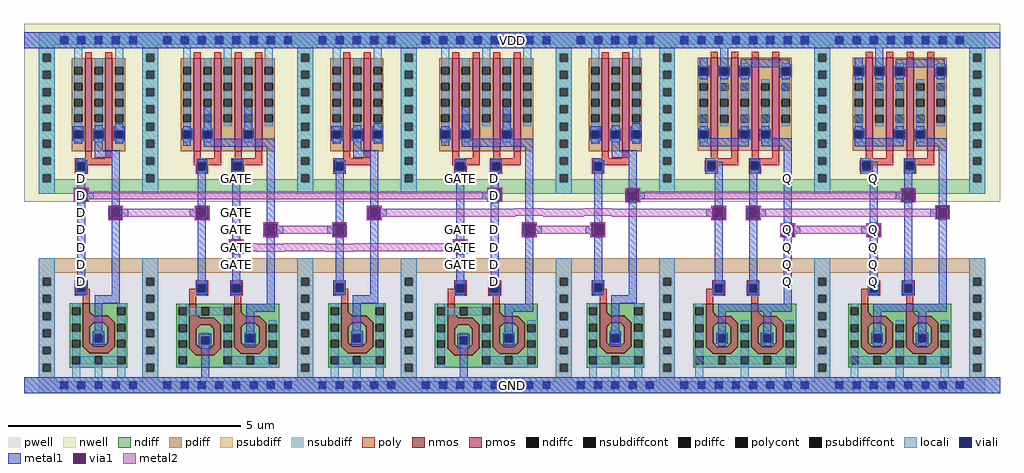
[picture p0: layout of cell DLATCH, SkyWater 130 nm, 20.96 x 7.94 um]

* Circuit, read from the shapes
.subckt DLATCH Q D GATE VDD GND
XM1 GND D n1 GND sky130_fd_pr__nfet_01v8 w=2.56 l=0.1478
XM2 n2 n1 GND GND sky130_fd_pr__nfet_01v8 w=2.6 l=0.1479
XM3 n2 GATE n3 GND sky130_fd_pr__nfet_01v8 w=2.56 l=0.1463
XM4 GND n3 n4 GND sky130_fd_pr__nfet_01v8 w=2.56 l=0.1471
XM5 n5 GATE GND GND sky130_fd_pr__nfet_01v8 w=2.6 l=0.1479
XM6 n5 D n6 GND sky130_fd_pr__nfet_01v8 w=2.56 l=0.1464
XM7 GND n6 n7 GND sky130_fd_pr__nfet_01v8 w=2.56 l=0.1471
XM8 GND n4 Q GND sky130_fd_pr__nfet_01v8 w=2.56 l=0.1463
XM9 GND n8 Q GND sky130_fd_pr__nfet_01v8 w=2.56 l=0.1466
XM10 GND Q n8 GND sky130_fd_pr__nfet_01v8 w=2.56 l=0.1463
XM11 GND n7 n8 GND sky130_fd_pr__nfet_01v8 w=2.56 l=0.1462
XM12 n1 D VDD VDD sky130_fd_pr__pfet_01v8 w=2 l=0.15 m=2
XM13 n3 n1 VDD VDD sky130_fd_pr__pfet_01v8 w=2 l=0.15 m=2
XM14 n3 GATE VDD VDD sky130_fd_pr__pfet_01v8 w=2 l=0.15 m=2
XM15 n4 n3 VDD VDD sky130_fd_pr__pfet_01v8 w=2 l=0.15 m=2
XM16 n6 GATE VDD VDD sky130_fd_pr__pfet_01v8 w=2 l=0.15 m=2
XM17 n6 D VDD VDD sky130_fd_pr__pfet_01v8 w=2 l=0.15 m=2
XM18 n7 n6 VDD VDD sky130_fd_pr__pfet_01v8 w=2 l=0.15 m=2
XM19 VDD n4 n9 VDD sky130_fd_pr__pfet_01v8 w=2 l=0.15 m=2
XM20 Q n8 n9 VDD sky130_fd_pr__pfet_01v8 w=2 l=0.15 m=2
XM21 VDD Q n10 VDD sky130_fd_pr__pfet_01v8 w=2 l=0.15 m=2
XM22 n8 n7 n10 VDD sky130_fd_pr__pfet_01v8 w=2 l=0.15 m=2
.ends

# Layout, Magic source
magic
tech sky130A
magscale 1 2
<< nwell >>
rect 0 822 4192 1588
<< pwell >>
rect 155 19 189 53
rect 64 0 4128 10
<< psubdiff >>
rect 64 0 4128 10
<< nsubdiff >>
rect 64 1550 4128 1552
<< locali >>
rect 0 1482 4192 1552
rect 0 0 4192 70
<< metal1 >>
rect 0 1482 4192 1552
rect 229 907 263 941
rect 895 907 929 941
rect 1857 907 1891 941
rect 2005 907 2039 941
rect 3263 907 3297 941
rect 3633 907 3667 941
rect 214 877 278 883
rect 214 825 220 877
rect 272 825 278 877
rect 214 822 278 825
rect 1990 877 2054 883
rect 1990 825 1996 877
rect 2048 825 2054 877
rect 1990 822 2054 825
rect 2582 876 2646 882
rect 2582 824 2588 876
rect 2640 824 2646 876
rect 2582 821 2646 824
rect 3766 876 3830 882
rect 3766 824 3772 876
rect 3824 824 3830 876
rect 3766 821 3830 824
rect 361 799 425 805
rect 229 759 263 793
rect 361 747 367 799
rect 419 747 425 799
rect 361 744 425 747
rect 734 799 798 805
rect 734 747 740 799
rect 792 747 798 799
rect 1472 799 1536 805
rect 895 759 929 793
rect 734 744 798 747
rect 1472 747 1478 799
rect 1530 747 1536 799
rect 1472 744 1536 747
rect 2952 799 3016 805
rect 2952 747 2958 799
rect 3010 747 3016 799
rect 2952 744 3016 747
rect 3100 799 3164 805
rect 3100 747 3106 799
rect 3158 747 3164 799
rect 3913 803 3977 809
rect 3913 751 3919 803
rect 3971 751 3977 803
rect 3913 748 3977 751
rect 3100 744 3164 747
rect 3248 725 3312 731
rect 229 685 263 719
rect 895 685 929 719
rect 1857 685 1891 719
rect 2005 685 2039 719
rect 3248 673 3254 725
rect 3306 673 3312 725
rect 3248 670 3312 673
rect 3618 725 3682 731
rect 3618 673 3624 725
rect 3676 673 3682 725
rect 3618 670 3682 673
rect 879 655 943 661
rect 229 611 263 645
rect 879 603 885 655
rect 937 603 943 655
rect 879 600 943 603
rect 1842 655 1906 661
rect 1842 603 1848 655
rect 1900 603 1906 655
rect 2005 611 2039 645
rect 3263 611 3297 645
rect 3633 611 3667 645
rect 1842 600 1906 603
rect 229 537 263 571
rect 895 537 929 571
rect 1857 537 1891 571
rect 2005 537 2039 571
rect 3263 537 3297 571
rect 3633 537 3667 571
rect 229 463 263 497
rect 2005 463 2039 497
rect 3263 463 3297 497
rect 3633 463 3667 497
rect 0 0 4192 70
<< via1 >>
rect 220 825 272 877
rect 1996 825 2048 877
rect 2588 824 2640 876
rect 3772 824 3824 876
rect 367 747 419 799
rect 740 747 792 799
rect 1478 747 1530 799
rect 2958 747 3010 799
rect 3106 747 3158 799
rect 3919 751 3971 803
rect 3254 673 3306 725
rect 3624 673 3676 725
rect 885 603 937 655
rect 1848 603 1900 655
<< metal2 >>
rect 214 877 278 883
rect 214 825 220 877
rect 272 867 278 877
rect 1990 877 2054 883
rect 1990 867 1996 877
rect 272 833 1996 867
rect 272 825 278 833
rect 214 822 278 825
rect 1990 825 1996 833
rect 2048 825 2054 877
rect 1990 822 2054 825
rect 2582 876 2646 882
rect 2582 824 2588 876
rect 2640 867 2646 876
rect 3766 876 3830 882
rect 3766 867 3772 876
rect 2640 833 3772 867
rect 2640 824 2646 833
rect 2582 821 2646 824
rect 3766 824 3772 833
rect 3824 824 3830 876
rect 3766 821 3830 824
rect 361 799 425 805
rect 361 747 367 799
rect 419 793 425 799
rect 734 799 798 805
rect 734 793 740 799
rect 419 759 740 793
rect 419 747 425 759
rect 361 744 425 747
rect 734 747 740 759
rect 792 747 798 799
rect 734 744 798 747
rect 1472 799 1536 805
rect 1472 747 1478 799
rect 1530 793 1536 799
rect 2952 799 3016 805
rect 2110 793 2230 795
rect 2405 793 2525 796
rect 2952 793 2958 799
rect 1530 762 2958 793
rect 1530 759 2110 762
rect 2230 759 2405 762
rect 2525 759 2958 762
rect 1530 747 1536 759
rect 1472 744 1536 747
rect 2952 747 2958 759
rect 3010 747 3016 799
rect 2952 744 3016 747
rect 3100 799 3164 805
rect 3100 747 3106 799
rect 3158 793 3164 799
rect 3913 803 3977 809
rect 3913 793 3919 803
rect 3158 759 3919 793
rect 3158 747 3164 759
rect 3913 751 3919 759
rect 3971 751 3977 803
rect 3913 748 3977 751
rect 3100 744 3164 747
rect 3248 725 3312 731
rect 3248 673 3254 725
rect 3306 719 3312 725
rect 3618 725 3682 731
rect 3618 719 3624 725
rect 3306 685 3624 719
rect 3306 673 3312 685
rect 3248 670 3312 673
rect 3618 673 3624 685
rect 3676 673 3682 725
rect 3618 670 3682 673
rect 879 655 943 661
rect 879 603 885 655
rect 937 645 943 655
rect 1842 655 1906 661
rect 1842 645 1848 655
rect 937 642 1000 645
rect 1120 642 1295 645
rect 1415 642 1848 645
rect 937 611 1848 642
rect 937 603 943 611
rect 1000 608 1120 611
rect 1295 608 1415 611
rect 879 600 943 603
rect 1842 603 1848 611
rect 1900 603 1906 655
rect 1842 600 1906 603
use and2x1_pcell  and2x1_pcell_0
transform 1 0 542 0 1 36
box -87 -34 1197 1550
use and2x1_pcell  and2x1_pcell_1
transform 1 0 1652 0 1 36
box -87 -34 1197 1550
use invx1_pcell  invx1_pcell_0
transform 1 0 98 0 1 36
box -87 -34 531 1550
use li1_M1_contact  li1_M1_contact_0
transform -1 0 912 0 -1 628
box -53 -33 29 33
use li1_M1_contact  li1_M1_contact_1
transform 1 0 1874 0 1 628
box -53 -33 29 33
use li1_M1_contact  li1_M1_contact_2
transform -1 0 246 0 -1 850
box -53 -33 29 33
use li1_M1_contact  li1_M1_contact_3
transform -1 0 394 0 -1 776
box -53 -33 29 33
use li1_M1_contact  li1_M1_contact_4
transform 1 0 2022 0 1 850
box -53 -33 29 33
use li1_M1_contact  li1_M1_contact_5
transform 1 0 764 0 1 776
box -53 -33 29 33
use li1_M1_contact  li1_M1_contact_6
transform -1 0 1504 0 -1 776
box -53 -33 29 33
use li1_M1_contact  li1_M1_contact_7
transform 1 0 2984 0 1 776
box -53 -33 29 33
use li1_M1_contact  li1_M1_contact_8
transform 1 0 3798 0 1 850
box -53 -33 29 33
use li1_M1_contact  li1_M1_contact_9
transform -1 0 2614 0 -1 850
box -53 -33 29 33
use li1_M1_contact  li1_M1_contact_10
transform 1 0 3946 0 1 776
box -53 -33 29 33
use li1_M1_contact  li1_M1_contact_11
transform -1 0 3132 0 -1 776
box -53 -33 29 33
use li1_M1_contact  li1_M1_contact_12
transform 1 0 3650 0 1 702
box -53 -33 29 33
use li1_M1_contact  li1_M1_contact_13
transform -1 0 3280 0 -1 702
box -53 -33 29 33
use nor2x1_pcell  nor2x1_pcell_0
transform 1 0 2762 0 1 36
box -87 -34 753 1550
use nor2x1_pcell  nor2x1_pcell_1
transform 1 0 3428 0 1 36
box -87 -34 753 1550
<< labels >>
rlabel metal1 3263 685 3297 719 1 Q
port 1 nsew signal output
rlabel metal1 3263 611 3297 645 1 Q
port 1 nsew signal output
rlabel metal1 3263 537 3297 571 1 Q
port 1 nsew signal output
rlabel metal1 3263 463 3297 497 1 Q
port 1 nsew signal output
rlabel metal1 3263 907 3297 941 1 Q
port 1 nsew signal output
rlabel metal1 3633 463 3667 497 1 Q
port 1 nsew signal output
rlabel metal1 3633 537 3667 571 1 Q
port 1 nsew signal output
rlabel metal1 3633 611 3667 645 1 Q
port 1 nsew signal output
rlabel metal1 3633 685 3667 719 1 Q
port 1 nsew signal output
rlabel metal1 3633 907 3667 941 1 Q
port 1 nsew signal output
rlabel metal1 229 833 263 867 1 D
port 2 nsew signal input
rlabel metal1 229 907 263 941 1 D
port 2 nsew signal input
rlabel metal1 229 759 263 793 1 D
port 2 nsew signal input
rlabel metal1 229 685 263 719 1 D
port 2 nsew signal input
rlabel metal1 229 611 263 645 1 D
port 2 nsew signal input
rlabel metal1 229 537 263 571 1 D
port 2 nsew signal input
rlabel metal1 229 463 263 497 1 D
port 2 nsew signal input
rlabel metal1 2005 463 2039 497 1 D
port 2 nsew signal input
rlabel metal1 2005 537 2039 571 1 D
port 2 nsew signal input
rlabel metal1 2005 611 2039 645 1 D
port 2 nsew signal input
rlabel metal1 2005 685 2039 719 1 D
port 2 nsew signal input
rlabel metal1 2005 833 2039 867 1 D
port 2 nsew signal input
rlabel metal1 2005 907 2039 941 1 D
port 2 nsew signal input
rlabel metal1 895 611 929 645 1 GATE
port 3 nsew signal input
rlabel metal1 895 537 929 571 1 GATE
port 3 nsew signal input
rlabel metal1 895 685 929 719 1 GATE
port 3 nsew signal input
rlabel metal1 895 759 929 793 1 GATE
port 3 nsew signal input
rlabel metal1 895 907 929 941 1 GATE
port 3 nsew signal input
rlabel metal1 1857 537 1891 571 1 GATE
port 3 nsew signal input
rlabel metal1 1857 611 1891 645 1 GATE
port 3 nsew signal input
rlabel metal1 1857 685 1891 719 1 GATE
port 3 nsew signal input
rlabel metal1 1857 907 1891 941 1 GATE
port 3 nsew signal input
rlabel metal1 0 1482 4192 1552 1 VDD
port 4 nsew power bidirectional abutment
rlabel metal1 0 0 4192 70 1 GND
port 5 nsew ground bidirectional abutment
<< properties >>
string FIXED_BBOX 0 0 4192 1552
string LEFclass CORE
string LEFsite unitrh
string LEFsymmetry X Y
<< end >>

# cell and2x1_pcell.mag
magic
tech sky130A
magscale 1 2
<< metal1 >>
rect 486 692 550 698
rect 486 640 492 692
rect 544 640 550 692
rect 486 634 550 640
rect 781 692 845 698
rect 781 640 787 692
rect 839 640 845 692
rect 781 634 845 640
<< via1 >>
rect 492 640 544 692
rect 787 640 839 692
<< metal2 >>
rect 486 692 550 698
rect 486 640 492 692
rect 544 683 550 692
rect 781 692 845 698
rect 781 683 787 692
rect 544 649 787 683
rect 544 640 550 649
rect 486 634 550 640
rect 781 640 787 649
rect 839 640 845 692
rect 781 634 845 640
use invx1_pcell  invx1_pcell_0
transform 1 0 666 0 1 0
box -87 -34 531 1550
use li1_M1_contact  li1_M1_contact_0
transform -1 0 518 0 -1 666
box -53 -33 29 33
use li1_M1_contact  li1_M1_contact_1
transform 1 0 814 0 1 666
box -53 -33 29 33
use nand2x1_pcell  nand2x1_pcell_0
transform 1 0 0 0 1 0
box -87 -34 753 1550
<< end >>

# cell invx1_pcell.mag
magic
tech sky130A
magscale 1 2
<< nwell >>
rect -87 786 531 1550
<< pwell >>
rect -34 -34 478 544
<< pdiffc >>
rect 118 1059 152 1093
rect 206 1059 240 1093
rect 294 1059 328 1093
<< psubdiff >>
rect 34 482 410 544
rect 34 -17 57 17
rect 91 -17 131 17
rect 165 -17 205 17
rect 239 -17 279 17
rect 313 -17 353 17
rect 387 -17 410 17
rect 34 -34 410 -17
<< nsubdiff >>
rect 34 1497 410 1514
rect 34 1463 57 1497
rect 91 1463 131 1497
rect 165 1463 205 1497
rect 239 1463 279 1497
rect 313 1463 353 1497
rect 387 1463 410 1497
rect 34 822 410 884
<< psubdiffcont >>
rect 57 -17 91 17
rect 131 -17 165 17
rect 205 -17 239 17
rect 279 -17 313 17
rect 353 -17 387 17
<< nsubdiffcont >>
rect 57 1463 91 1497
rect 131 1463 165 1497
rect 205 1463 239 1497
rect 279 1463 313 1497
rect 353 1463 387 1497
<< poly >>
rect 155 381 185 413
<< locali >>
rect -34 1497 478 1514
rect -34 1463 57 1497
rect 91 1463 131 1497
rect 165 1463 205 1497
rect 239 1463 279 1497
rect 313 1463 353 1497
rect 387 1463 478 1497
rect -34 1446 478 1463
rect 118 1093 152 1117
rect 118 1043 152 1059
rect 206 1093 240 1117
rect 206 1043 240 1059
rect 294 1093 328 1117
rect 294 1043 328 1059
rect 109 34 143 84
rect 205 34 239 90
rect 303 34 337 90
rect -34 17 466 34
rect -34 -17 57 17
rect 91 -17 131 17
rect 165 -17 205 17
rect 239 -17 279 17
rect 313 -17 353 17
rect 387 -17 466 17
rect -34 -34 466 -17
<< viali >>
rect 57 1463 91 1497
rect 131 1463 165 1497
rect 205 1463 239 1497
rect 279 1463 313 1497
rect 353 1463 387 1497
rect 118 1059 152 1093
rect 206 1059 240 1093
rect 294 1059 328 1093
rect 131 923 165 957
rect 131 400 165 434
rect 205 184 239 218
rect 57 -17 91 17
rect 131 -17 165 17
rect 205 -17 239 17
rect 279 -17 313 17
rect 353 -17 387 17
<< metal1 >>
rect -34 1497 478 1514
rect -34 1463 57 1497
rect 91 1463 131 1497
rect 165 1463 205 1497
rect 239 1463 279 1497
rect 313 1463 353 1497
rect 387 1463 478 1497
rect -34 1446 478 1463
rect 112 1093 159 1111
rect 206 1101 240 1115
rect 294 1111 328 1124
rect 112 1059 118 1093
rect 152 1059 159 1093
rect 112 1048 159 1059
rect 200 1093 246 1101
rect 200 1059 206 1093
rect 240 1059 246 1093
rect 200 1048 246 1059
rect 288 1093 335 1111
rect 288 1059 294 1093
rect 328 1059 335 1093
rect 288 1048 335 1059
rect 118 1037 152 1048
rect 206 1009 240 1048
rect 294 1037 328 1048
rect 206 975 313 1009
rect 131 966 165 973
rect 124 957 174 966
rect 124 923 131 957
rect 165 923 174 957
rect 124 916 174 923
rect 131 450 165 916
rect 123 434 173 450
rect 123 400 131 434
rect 165 400 173 434
rect 123 388 173 400
rect 279 385 313 975
rect 205 351 313 385
rect 205 230 239 351
rect 198 218 246 230
rect 198 184 205 218
rect 239 184 246 218
rect 198 172 246 184
rect -34 17 478 34
rect -34 -17 57 17
rect 91 -17 131 17
rect 165 -17 205 17
rect 239 -17 279 17
rect 313 -17 353 17
rect 387 -17 478 17
rect -34 -34 478 -17
use diff_ring_side  diff_ring_side_0
transform 1 0 444 0 1 0
box -87 -34 87 1550
use diff_ring_side  diff_ring_side_1
transform 1 0 0 0 1 0
box -87 -34 87 1550
use nmos_top  nmos_top_0
transform -1 0 345 0 1 74
box 0 0 246 308
use pmos2  pmos2_0
transform 1 0 20 0 1 1404
box 52 -461 352 42
use poly_li1_contact  poly_li1_contact_0
transform 0 1 149 -1 0 941
box -32 -28 34 26
use poly_li1_contact  poly_li1_contact_1
transform 0 -1 147 1 0 416
box -32 -28 34 26
<< end >>

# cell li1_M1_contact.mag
magic
tech sky130A
magscale 1 2
<< locali >>
rect -17 17 17 33
rect -17 -33 17 -17
<< viali >>
rect -17 -17 17 17
<< metal1 >>
rect -23 17 23 23
rect -53 -17 -17 17
rect 17 -17 29 17
rect -23 -23 23 -17
<< end >>

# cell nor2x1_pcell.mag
magic
tech sky130A
magscale 1 2
<< nwell >>
rect 87 786 579 1550
<< pwell >>
rect 34 -34 632 544
<< pdiff >>
rect 141 1043 175 1059
rect 317 1043 351 1050
rect 405 1043 439 1050
<< pdiffc >>
rect 141 1331 175 1365
rect 229 1331 263 1365
rect 317 1331 351 1365
rect 493 1331 527 1365
rect 141 1059 175 1093
rect 317 1059 351 1093
rect 405 1059 439 1093
<< psubdiff >>
rect 34 482 632 544
rect 34 -17 57 17
rect 91 -17 131 17
rect 165 -17 205 17
rect 239 -17 279 17
rect 313 -17 353 17
rect 387 -17 427 17
rect 461 -17 501 17
rect 535 -17 575 17
rect 609 -17 632 17
rect 34 -34 632 -17
<< nsubdiff >>
rect 34 1497 632 1514
rect 34 1463 57 1497
rect 91 1463 131 1497
rect 165 1463 205 1497
rect 239 1463 279 1497
rect 313 1463 353 1497
rect 387 1463 427 1497
rect 461 1463 501 1497
rect 535 1463 575 1497
rect 609 1463 632 1497
rect 34 822 632 884
<< psubdiffcont >>
rect 57 -17 91 17
rect 131 -17 165 17
rect 205 -17 239 17
rect 279 -17 313 17
rect 353 -17 387 17
rect 427 -17 461 17
rect 501 -17 535 17
rect 575 -17 609 17
<< nsubdiffcont >>
rect 57 1463 91 1497
rect 131 1463 165 1497
rect 205 1463 239 1497
rect 279 1463 313 1497
rect 353 1463 387 1497
rect 427 1463 461 1497
rect 501 1463 535 1497
rect 575 1463 609 1497
<< poly >>
rect 168 375 198 413
rect 362 382 392 383
<< locali >>
rect -34 1497 667 1514
rect -34 1463 57 1497
rect 91 1463 131 1497
rect 165 1463 205 1497
rect 239 1463 279 1497
rect 313 1463 353 1497
rect 387 1463 427 1497
rect 461 1463 501 1497
rect 535 1463 575 1497
rect 609 1463 667 1497
rect -34 1446 667 1463
rect 141 1365 175 1405
rect 141 1312 175 1331
rect 229 1365 263 1405
rect 229 1229 263 1331
rect 317 1365 351 1381
rect 317 1229 351 1331
rect 493 1365 527 1381
rect 493 1229 527 1331
rect 141 1093 175 1195
rect 141 1043 175 1059
rect 317 1093 351 1195
rect 317 1043 351 1059
rect 405 1093 439 1195
rect 405 1043 439 1059
rect 122 34 156 157
rect 316 34 350 89
rect 510 34 544 89
rect 33 17 657 34
rect 33 -17 57 17
rect 91 -17 131 17
rect 165 -17 205 17
rect 239 -17 279 17
rect 313 -17 353 17
rect 387 -17 427 17
rect 461 -17 501 17
rect 535 -17 575 17
rect 609 -17 657 17
rect 33 -34 657 -17
<< viali >>
rect 57 1463 91 1497
rect 131 1463 165 1497
rect 205 1463 239 1497
rect 279 1463 313 1497
rect 353 1463 387 1497
rect 427 1463 461 1497
rect 501 1463 535 1497
rect 575 1463 609 1497
rect 141 1331 175 1365
rect 229 1331 263 1365
rect 317 1331 351 1365
rect 493 1331 527 1365
rect 141 1059 175 1093
rect 317 1059 351 1093
rect 405 1059 439 1093
rect 174 924 208 958
rect 360 924 394 958
rect 205 399 239 433
rect 353 399 387 433
rect 219 183 253 217
rect 413 183 447 217
rect 57 -17 91 17
rect 131 -17 165 17
rect 205 -17 239 17
rect 279 -17 313 17
rect 353 -17 387 17
rect 427 -17 461 17
rect 501 -17 535 17
rect 575 -17 609 17
<< metal1 >>
rect 34 1497 632 1514
rect 34 1463 57 1497
rect 91 1463 131 1497
rect 165 1463 205 1497
rect 239 1463 279 1497
rect 313 1463 353 1497
rect 387 1463 427 1497
rect 461 1463 501 1497
rect 535 1463 575 1497
rect 609 1463 632 1497
rect 34 1446 632 1463
rect 141 1372 175 1405
rect 135 1365 181 1372
rect 229 1371 263 1446
rect 317 1375 527 1399
rect 317 1371 533 1375
rect 135 1331 141 1365
rect 175 1331 181 1365
rect 135 1325 181 1331
rect 223 1365 269 1371
rect 223 1331 229 1365
rect 263 1331 269 1365
rect 223 1325 269 1331
rect 311 1365 533 1371
rect 311 1331 317 1365
rect 351 1331 357 1365
rect 141 1313 175 1325
rect 229 1313 263 1325
rect 311 1323 357 1331
rect 484 1331 493 1365
rect 527 1331 533 1365
rect 484 1324 533 1331
rect 317 1313 351 1323
rect 493 1313 527 1324
rect 141 1100 175 1111
rect 135 1093 181 1100
rect 317 1099 351 1111
rect 405 1099 439 1111
rect 135 1059 141 1093
rect 175 1059 181 1093
rect 310 1093 358 1099
rect 310 1059 317 1093
rect 351 1059 358 1093
rect 135 1053 358 1059
rect 397 1093 445 1099
rect 397 1059 405 1093
rect 439 1059 445 1093
rect 141 1025 351 1053
rect 397 1052 535 1059
rect 405 1025 535 1052
rect 162 958 217 964
rect 353 958 401 971
rect 162 924 174 958
rect 208 924 239 958
rect 162 917 239 924
rect 205 443 239 917
rect 353 924 360 958
rect 394 924 401 958
rect 353 912 401 924
rect 353 443 387 912
rect 197 433 246 443
rect 197 399 205 433
rect 239 399 246 433
rect 197 387 246 399
rect 344 433 395 443
rect 344 399 353 433
rect 387 399 395 433
rect 344 387 395 399
rect 501 348 535 1025
rect 219 314 535 348
rect 219 225 253 314
rect 211 217 260 225
rect 413 224 447 314
rect 211 183 219 217
rect 253 183 260 217
rect 211 177 260 183
rect 403 217 456 224
rect 403 183 413 217
rect 447 183 456 217
rect 219 167 253 177
rect 403 176 456 183
rect 413 167 447 176
rect 34 17 632 34
rect 34 -17 57 17
rect 91 -17 131 17
rect 165 -17 205 17
rect 239 -17 279 17
rect 313 -17 353 17
rect 387 -17 427 17
rect 461 -17 501 17
rect 535 -17 575 17
rect 609 -17 632 17
rect 34 -34 632 -17
use diff_ring_side  diff_ring_side_0
transform 1 0 666 0 1 0
box -87 -34 87 1550
use diff_ring_side  diff_ring_side_1
transform 1 0 0 0 1 0
box -87 -34 87 1550
use nmos_top_trim1  nmos_top_trim1_1
transform -1 0 360 0 1 73
box 0 0 248 309
use nmos_top_trim2  nmos_top_trim2_0
transform -1 0 554 0 1 73
box 0 0 248 309
use pmos2_1  pmos2_1_0
transform 1 0 43 0 1 1404
box 52 -460 352 37
use pmos2_1  pmos2_1_1
transform 1 0 219 0 1 1404
box 52 -460 352 37
use poly_li1_contact  poly_li1_contact_0
transform 0 1 192 -1 0 942
box -32 -28 34 26
use poly_li1_contact  poly_li1_contact_1
transform 0 1 223 -1 0 417
box -32 -28 34 26
use poly_li1_contact  poly_li1_contact_2
transform 0 -1 369 1 0 415
box -32 -28 34 26
use poly_li1_contact  poly_li1_contact_3
transform 0 1 378 -1 0 942
box -32 -28 34 26
<< end >>

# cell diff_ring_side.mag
magic
tech sky130A
magscale 1 2
<< nwell >>
rect -87 786 87 1550
<< pwell >>
rect -34 -34 34 544
<< psubdiff >>
rect -34 461 34 544
rect -34 427 -17 461
rect 17 427 34 461
rect -34 387 34 427
rect -34 353 -17 387
rect 17 353 34 387
rect -34 313 34 353
rect -34 279 -17 313
rect 17 279 34 313
rect -34 239 34 279
rect -34 205 -17 239
rect 17 205 34 239
rect -34 165 34 205
rect -34 131 -17 165
rect 17 131 34 165
rect -34 91 34 131
rect -34 57 -17 91
rect 17 57 34 91
rect -34 -34 34 57
<< nsubdiff >>
rect -34 1423 34 1514
rect -34 1389 -17 1423
rect 17 1389 34 1423
rect -34 1349 34 1389
rect -34 1315 -17 1349
rect 17 1315 34 1349
rect -34 1275 34 1315
rect -34 1241 -17 1275
rect 17 1241 34 1275
rect -34 1201 34 1241
rect -34 1167 -17 1201
rect 17 1167 34 1201
rect -34 1127 34 1167
rect -34 1093 -17 1127
rect 17 1093 34 1127
rect -34 1053 34 1093
rect -34 1019 -17 1053
rect 17 1019 34 1053
rect -34 979 34 1019
rect -34 945 -17 979
rect 17 945 34 979
rect -34 905 34 945
rect -34 871 -17 905
rect 17 871 34 905
rect -34 822 34 871
<< psubdiffcont >>
rect -17 427 17 461
rect -17 353 17 387
rect -17 279 17 313
rect -17 205 17 239
rect -17 131 17 165
rect -17 57 17 91
<< nsubdiffcont >>
rect -17 1389 17 1423
rect -17 1315 17 1349
rect -17 1241 17 1275
rect -17 1167 17 1201
rect -17 1093 17 1127
rect -17 1019 17 1053
rect -17 945 17 979
rect -17 871 17 905
<< locali >>
rect -34 1423 34 1514
rect -34 1389 -17 1423
rect 17 1389 34 1423
rect -34 1349 34 1389
rect -34 1315 -17 1349
rect 17 1315 34 1349
rect -34 1275 34 1315
rect -34 1241 -17 1275
rect 17 1241 34 1275
rect -34 1201 34 1241
rect -34 1167 -17 1201
rect 17 1167 34 1201
rect -34 1127 34 1167
rect -34 1093 -17 1127
rect 17 1093 34 1127
rect -34 1053 34 1093
rect -34 1019 -17 1053
rect 17 1019 34 1053
rect -34 979 34 1019
rect -34 945 -17 979
rect 17 945 34 979
rect -34 905 34 945
rect -34 871 -17 905
rect 17 871 34 905
rect -34 822 34 871
rect -34 461 34 544
rect -34 427 -17 461
rect 17 427 34 461
rect -34 387 34 427
rect -34 353 -17 387
rect 17 353 34 387
rect -34 313 34 353
rect -34 279 -17 313
rect 17 279 34 313
rect -34 239 34 279
rect -34 205 -17 239
rect 17 205 34 239
rect -34 165 34 205
rect -34 131 -17 165
rect 17 131 34 165
rect -34 91 34 131
rect -34 57 -17 91
rect 17 57 34 91
rect -34 -34 34 57
<< metal1 >>
rect -34 1446 34 1514
rect -34 -34 34 34
<< end >>

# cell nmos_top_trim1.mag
magic
tech sky130
magscale 1 2
<< nmos >>
tri 146 223 162 239 se
rect 162 223 192 276
tri 56 193 86 223 se
rect 86 193 192 223
rect 56 92 86 193
tri 86 177 102 193 nw
tri 146 177 162 193 ne
tri 86 92 102 108 sw
tri 146 92 162 108 se
rect 162 92 192 193
tri 56 62 86 92 ne
rect 86 62 162 92
tri 162 62 192 92 nw
<< ndiff >>
rect 0 239 162 276
rect 0 223 146 239
tri 146 223 162 239 nw
rect 192 260 248 276
rect 192 226 204 260
rect 238 226 248 260
rect 0 188 56 223
tri 56 193 86 223 nw
rect 0 154 10 188
rect 44 154 56 188
rect 0 120 56 154
rect 0 86 10 120
rect 44 86 56 120
tri 86 177 102 193 se
rect 102 177 146 193
tri 146 177 162 193 sw
rect 86 144 162 177
rect 86 110 107 144
rect 141 110 162 144
rect 86 108 162 110
tri 86 92 102 108 ne
rect 102 92 146 108
tri 146 92 162 108 nw
rect 192 188 248 226
rect 192 154 204 188
rect 238 154 248 188
rect 192 120 248 154
rect 0 62 56 86
tri 56 62 86 92 sw
tri 162 62 192 92 se
rect 192 86 204 120
rect 238 86 248 120
rect 192 62 248 86
rect 0 50 248 62
rect 0 16 10 50
rect 44 16 107 50
rect 141 16 204 50
rect 238 16 248 50
rect 0 0 248 16
<< ndiffc >>
rect 204 226 238 260
rect 10 154 44 188
rect 10 86 44 120
rect 107 110 141 144
rect 204 154 238 188
rect 204 86 238 120
rect 10 16 44 50
rect 107 16 141 50
rect 204 16 238 50
<< poly >>
rect 162 276 192 309
<< locali >>
rect 204 260 238 276
rect 10 188 44 204
rect 204 188 238 226
rect 10 120 44 154
rect 107 144 141 161
rect 107 94 141 110
rect 204 120 238 154
rect 10 50 44 86
rect 204 50 238 86
rect 44 16 107 50
rect 141 16 204 50
rect 10 0 44 16
rect 204 0 238 16
<< end >>

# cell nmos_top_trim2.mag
magic
tech sky130
magscale 1 2
<< nmos >>
tri 146 223 162 239 se
rect 162 223 192 276
tri 56 193 86 223 se
rect 86 193 192 223
rect 56 178 87 193
tri 87 178 102 193 nw
tri 146 178 161 193 ne
rect 161 178 192 193
rect 56 92 86 178
tri 86 92 102 108 sw
tri 146 92 162 108 se
rect 162 92 192 178
tri 56 62 86 92 ne
rect 86 62 162 92
tri 162 62 192 92 nw
<< ndiff >>
rect 0 239 162 276
rect 0 223 146 239
tri 146 223 162 239 nw
rect 0 188 56 223
tri 56 193 86 223 nw
rect 0 154 10 188
rect 44 154 56 188
tri 87 178 102 193 se
rect 102 178 146 193
tri 146 178 161 193 sw
rect 192 188 248 276
rect 0 120 56 154
rect 0 86 10 120
rect 44 86 56 120
rect 86 144 162 178
rect 86 110 107 144
rect 141 110 162 144
rect 86 108 162 110
tri 86 92 102 108 ne
rect 102 92 146 108
tri 146 92 162 108 nw
rect 192 154 204 188
rect 238 154 248 188
rect 192 120 248 154
rect 0 62 56 86
tri 56 62 86 92 sw
tri 162 62 192 92 se
rect 192 86 204 120
rect 238 86 248 120
rect 192 62 248 86
rect 0 50 248 62
rect 0 16 10 50
rect 44 16 107 50
rect 141 16 204 50
rect 238 16 248 50
rect 0 0 248 16
<< ndiffc >>
rect 10 154 44 188
rect 10 86 44 120
rect 107 110 141 144
rect 204 154 238 188
rect 204 86 238 120
rect 10 16 44 50
rect 107 16 141 50
rect 204 16 238 50
<< poly >>
rect 162 276 192 309
<< locali >>
rect 10 188 44 205
rect 204 188 238 205
rect 10 120 44 154
rect 107 144 141 161
rect 107 94 141 110
rect 204 120 238 154
rect 10 50 44 86
rect 204 50 238 86
rect 44 16 107 50
rect 141 16 204 50
rect 10 0 44 16
rect 204 0 238 16
<< end >>

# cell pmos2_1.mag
magic
tech sky130A
magscale 1 2
<< nwell >>
rect 52 -435 352 37
<< pmos >>
rect 144 -399 174 1
rect 232 -399 262 1
<< pdiff >>
rect 88 -107 144 1
rect 88 -141 98 -107
rect 132 -141 144 -107
rect 88 -175 144 -141
rect 88 -209 98 -175
rect 132 -209 144 -175
rect 88 -243 144 -209
rect 88 -277 98 -243
rect 132 -277 144 -243
rect 88 -399 144 -277
rect 174 -107 232 1
rect 174 -141 186 -107
rect 220 -141 232 -107
rect 174 -175 232 -141
rect 174 -209 186 -175
rect 220 -209 232 -175
rect 174 -243 232 -209
rect 174 -277 186 -243
rect 220 -277 232 -243
rect 174 -399 232 -277
rect 262 -107 316 1
rect 262 -141 274 -107
rect 308 -141 316 -107
rect 262 -175 316 -141
rect 262 -209 274 -175
rect 308 -209 316 -175
rect 262 -243 316 -209
rect 262 -277 274 -243
rect 308 -277 316 -243
rect 262 -399 316 -277
<< pdiffc >>
rect 98 -141 132 -107
rect 98 -209 132 -175
rect 98 -277 132 -243
rect 186 -141 220 -107
rect 186 -209 220 -175
rect 186 -277 220 -243
rect 274 -141 308 -107
rect 274 -209 308 -175
rect 274 -277 308 -243
<< poly >>
rect 144 1 174 27
rect 232 1 262 27
rect 144 -430 174 -399
rect 232 -430 262 -399
rect 144 -460 262 -430
<< locali >>
rect 98 -107 132 -91
rect 98 -175 132 -141
rect 98 -243 132 -209
rect 98 -293 132 -277
rect 186 -107 220 -91
rect 186 -175 220 -141
rect 186 -243 220 -209
rect 186 -293 220 -277
rect 274 -107 308 -91
rect 274 -175 308 -141
rect 274 -243 308 -209
rect 274 -293 308 -277
<< end >>

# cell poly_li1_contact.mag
magic
tech sky130
<< poly >>
rect -16 8 17 13
rect -16 -9 -8 8
rect 9 -9 17 8
rect -16 -14 17 -9
<< polycont >>
rect -8 -9 9 8
<< locali >>
rect -16 -9 -8 8
rect 9 -9 17 8
<< end >>

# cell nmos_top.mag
magic
tech sky130
magscale 1 2
<< nmos >>
tri 144 223 160 239 se
rect 160 223 190 276
tri 54 193 84 223 se
rect 84 193 190 223
rect 54 92 84 193
tri 84 177 100 193 nw
tri 144 177 160 193 ne
tri 84 92 100 108 sw
tri 144 92 160 108 se
rect 160 92 190 193
tri 54 62 84 92 ne
rect 84 62 160 92
tri 160 62 190 92 nw
<< ndiff >>
rect 0 260 160 276
rect 0 226 8 260
rect 42 239 160 260
rect 42 226 144 239
rect 0 223 144 226
tri 144 223 160 239 nw
rect 190 260 246 276
rect 190 226 202 260
rect 236 226 246 260
rect 0 188 54 223
tri 54 193 84 223 nw
rect 0 154 8 188
rect 42 154 54 188
rect 0 120 54 154
rect 0 86 8 120
rect 42 86 54 120
tri 84 177 100 193 se
rect 100 177 144 193
tri 144 177 160 193 sw
rect 84 144 160 177
rect 84 110 106 144
rect 140 110 160 144
rect 84 108 160 110
tri 84 92 100 108 ne
rect 100 92 144 108
tri 144 92 160 108 nw
rect 190 188 246 226
rect 190 154 202 188
rect 236 154 246 188
rect 190 120 246 154
rect 0 62 54 86
tri 54 62 84 92 sw
tri 160 62 190 92 se
rect 190 86 202 120
rect 236 86 246 120
rect 190 62 246 86
rect 0 50 246 62
rect 0 16 8 50
rect 42 16 106 50
rect 140 16 202 50
rect 236 16 246 50
rect 0 0 246 16
<< ndiffc >>
rect 8 226 42 260
rect 202 226 236 260
rect 8 154 42 188
rect 8 86 42 120
rect 106 110 140 144
rect 202 154 236 188
rect 202 86 236 120
rect 8 16 42 50
rect 106 16 140 50
rect 202 16 236 50
<< poly >>
rect 160 276 190 308
<< locali >>
rect 8 260 42 276
rect 8 188 42 226
rect 202 260 236 276
rect 202 188 236 226
rect 8 120 42 154
rect 106 144 140 161
rect 106 94 140 110
rect 202 120 236 154
rect 8 50 42 86
rect 202 50 236 86
rect 42 16 106 50
rect 140 16 202 50
rect 8 0 42 16
rect 202 0 236 16
<< end >>

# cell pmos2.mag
magic
tech sky130A
magscale 1 2
<< nwell >>
rect 52 -436 352 36
<< pmos >>
rect 144 -400 174 0
rect 232 -400 262 0
<< pdiff >>
rect 88 -38 144 0
rect 88 -72 98 -38
rect 132 -72 144 -38
rect 88 -106 144 -72
rect 88 -140 98 -106
rect 132 -140 144 -106
rect 88 -174 144 -140
rect 88 -208 98 -174
rect 132 -208 144 -174
rect 88 -242 144 -208
rect 88 -276 98 -242
rect 132 -276 144 -242
rect 88 -400 144 -276
rect 174 -38 232 0
rect 174 -72 186 -38
rect 220 -72 232 -38
rect 174 -106 232 -72
rect 174 -140 186 -106
rect 220 -140 232 -106
rect 174 -174 232 -140
rect 174 -208 186 -174
rect 220 -208 232 -174
rect 174 -242 232 -208
rect 174 -276 186 -242
rect 220 -276 232 -242
rect 174 -400 232 -276
rect 262 -38 316 0
rect 262 -72 274 -38
rect 308 -72 316 -38
rect 262 -106 316 -72
rect 262 -140 274 -106
rect 308 -140 316 -106
rect 262 -174 316 -140
rect 262 -208 274 -174
rect 308 -208 316 -174
rect 262 -242 316 -208
rect 262 -276 274 -242
rect 308 -276 316 -242
rect 262 -400 316 -276
<< pdiffc >>
rect 98 -72 132 -38
rect 98 -140 132 -106
rect 98 -208 132 -174
rect 98 -276 132 -242
rect 186 -72 220 -38
rect 186 -140 220 -106
rect 186 -208 220 -174
rect 186 -276 220 -242
rect 274 -72 308 -38
rect 274 -140 308 -106
rect 274 -208 308 -174
rect 274 -276 308 -242
<< poly >>
rect 144 0 174 26
rect 232 0 262 26
rect 144 -431 174 -400
rect 232 -431 262 -400
rect 144 -461 262 -431
<< locali >>
rect 98 -38 132 42
rect 98 -106 132 -72
rect 98 -174 132 -140
rect 98 -242 132 -208
rect 98 -293 132 -276
rect 186 -38 220 0
rect 186 -106 220 -72
rect 186 -174 220 -140
rect 186 -242 220 -208
rect 186 -293 220 -276
rect 274 -38 308 42
rect 274 -106 308 -72
rect 274 -174 308 -140
rect 274 -242 308 -208
rect 274 -293 308 -276
<< end >>

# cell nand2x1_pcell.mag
magic
tech sky130A
magscale 1 2
<< nwell >>
rect 87 786 579 1550
<< pwell >>
rect 34 542 632 544
rect -31 -30 697 542
rect 34 -34 632 -30
<< pdiff >>
rect 223 1093 269 1100
rect 223 1059 229 1093
rect 263 1059 269 1093
rect 223 1053 269 1059
rect 399 1093 445 1100
rect 399 1059 405 1093
rect 439 1059 445 1093
rect 399 1053 445 1059
<< pdiffc >>
rect 141 1059 175 1093
rect 229 1059 263 1093
rect 405 1059 439 1093
<< psubdiff >>
rect 34 542 632 544
rect 31 482 635 542
rect 31 480 34 482
rect 632 480 635 482
rect 31 -17 57 17
rect 91 -17 131 17
rect 165 -17 205 17
rect 239 -17 279 17
rect 313 -17 353 17
rect 387 -17 427 17
rect 461 -17 501 17
rect 535 -17 575 17
rect 609 -17 635 17
rect 31 -30 635 -17
rect 34 -34 632 -30
<< nsubdiff >>
rect 34 1497 632 1514
rect 34 1463 57 1497
rect 91 1463 131 1497
rect 165 1463 205 1497
rect 239 1463 279 1497
rect 313 1463 353 1497
rect 387 1463 427 1497
rect 461 1463 501 1497
rect 535 1463 575 1497
rect 609 1463 632 1497
rect 34 822 632 884
<< psubdiffcont >>
rect 57 -17 91 17
rect 131 -17 165 17
rect 205 -17 239 17
rect 279 -17 313 17
rect 353 -17 387 17
rect 427 -17 461 17
rect 501 -17 535 17
rect 575 -17 609 17
<< nsubdiffcont >>
rect 57 1463 91 1497
rect 131 1463 165 1497
rect 205 1463 239 1497
rect 279 1463 313 1497
rect 353 1463 387 1497
rect 427 1463 461 1497
rect 501 1463 535 1497
rect 575 1463 609 1497
<< poly >>
rect 168 375 198 413
rect 362 382 392 383
<< locali >>
rect -34 1497 634 1514
rect -34 1463 57 1497
rect 91 1463 131 1497
rect 165 1463 205 1497
rect 239 1463 279 1497
rect 313 1463 353 1497
rect 387 1463 427 1497
rect 461 1463 501 1497
rect 535 1463 575 1497
rect 609 1463 634 1497
rect -34 1446 634 1463
rect 141 1093 175 1122
rect 141 1043 175 1059
rect 229 1093 263 1122
rect 229 1043 263 1059
rect 405 1093 439 1122
rect 405 1043 439 1059
rect 33 17 659 34
rect 33 -17 57 17
rect 91 -17 131 17
rect 165 -17 205 17
rect 239 -17 279 17
rect 313 -17 353 17
rect 387 -17 427 17
rect 461 -17 501 17
rect 535 -17 575 17
rect 609 -17 659 17
rect 33 -34 659 -17
<< viali >>
rect 57 1463 91 1497
rect 131 1463 165 1497
rect 205 1463 239 1497
rect 279 1463 313 1497
rect 353 1463 387 1497
rect 427 1463 461 1497
rect 501 1463 535 1497
rect 575 1463 609 1497
rect 141 1059 175 1093
rect 229 1059 263 1093
rect 405 1059 439 1093
rect 205 923 239 957
rect 359 923 393 957
rect 205 399 239 433
rect 353 399 387 433
rect 219 174 253 208
rect 413 183 447 217
rect 57 -17 91 17
rect 131 -17 165 17
rect 205 -17 239 17
rect 279 -17 313 17
rect 353 -17 387 17
rect 427 -17 461 17
rect 501 -17 535 17
rect 575 -17 609 17
<< metal1 >>
rect -34 1497 700 1514
rect -34 1463 57 1497
rect 91 1463 131 1497
rect 165 1463 205 1497
rect 239 1463 279 1497
rect 313 1463 353 1497
rect 387 1463 427 1497
rect 461 1463 501 1497
rect 535 1463 575 1497
rect 609 1463 700 1497
rect -34 1446 700 1463
rect 141 1100 175 1111
rect 229 1100 263 1196
rect 405 1100 439 1196
rect 135 1093 181 1100
rect 135 1059 141 1093
rect 175 1059 181 1093
rect 135 1053 181 1059
rect 223 1093 269 1100
rect 223 1059 229 1093
rect 263 1059 269 1093
rect 223 1057 269 1059
rect 399 1093 445 1100
rect 399 1059 405 1093
rect 439 1059 445 1093
rect 399 1057 445 1059
rect 223 1053 535 1057
rect 141 1027 175 1053
rect 229 1023 535 1053
rect 199 957 246 969
rect 199 923 205 957
rect 239 923 246 957
rect 199 912 246 923
rect 353 957 399 969
rect 353 923 359 957
rect 393 923 399 957
rect 353 916 399 923
rect 205 441 239 912
rect 353 911 394 916
rect 353 441 387 911
rect 198 433 246 441
rect 198 399 205 433
rect 239 399 246 433
rect 198 387 246 399
rect 347 433 394 441
rect 347 399 353 433
rect 387 399 394 433
rect 347 387 394 399
rect 501 348 535 1023
rect 413 314 535 348
rect 413 224 447 314
rect 209 208 262 220
rect 209 174 219 208
rect 253 174 262 208
rect 209 165 262 174
rect 407 217 453 224
rect 407 183 413 217
rect 447 183 453 217
rect 407 171 453 183
rect 219 34 253 165
rect -34 17 700 34
rect -34 -17 57 17
rect 91 -17 131 17
rect 165 -17 205 17
rect 239 -17 279 17
rect 313 -17 353 17
rect 387 -17 427 17
rect 461 -17 501 17
rect 535 -17 575 17
rect 609 -17 700 17
rect -34 -34 700 -17
use diff_ring_side  diff_ring_side_0
transform 1 0 666 0 1 0
box -87 -34 87 1550
use diff_ring_side  diff_ring_side_1
transform 1 0 0 0 1 0
box -87 -34 87 1550
use nmos_bottom  nmos_bottom_0
transform -1 0 360 0 1 73
box 0 0 248 302
use nmos_top_trim1  nmos_top_trim1_0
transform -1 0 554 0 1 73
box 0 0 248 309
use pmos2  pmos2_0
transform 1 0 43 0 1 1404
box 52 -461 352 42
use pmos2  pmos2_1
transform 1 0 219 0 1 1404
box 52 -461 352 42
use poly_li1_contact  poly_li1_contact_0
transform 0 1 223 -1 0 941
box -32 -28 34 26
use poly_li1_contact  poly_li1_contact_1
transform 0 1 223 -1 0 417
box -32 -28 34 26
use poly_li1_contact  poly_li1_contact_2
transform 0 -1 369 1 0 415
box -32 -28 34 26
use poly_li1_contact  poly_li1_contact_3
transform 0 1 377 -1 0 941
box -32 -28 34 26
<< end >>

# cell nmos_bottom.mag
magic
tech sky130A
magscale 1 2
<< nmos >>
tri 146 215 162 231 se
rect 162 215 192 276
tri 56 185 86 215 se
rect 86 185 192 215
rect 56 84 86 185
tri 86 169 102 185 nw
tri 146 169 162 185 ne
tri 86 84 102 100 sw
tri 146 84 162 100 se
rect 162 84 192 185
tri 56 54 86 84 ne
rect 86 54 162 84
tri 162 54 192 84 nw
<< ndiff >>
rect 0 260 162 276
rect 0 226 10 260
rect 44 226 107 260
rect 141 231 162 260
rect 141 226 146 231
rect 0 215 146 226
tri 146 215 162 231 nw
rect 192 260 248 276
rect 192 226 204 260
rect 238 226 248 260
rect 0 188 56 215
rect 0 154 10 188
rect 44 154 56 188
tri 56 185 86 215 nw
rect 192 188 248 226
rect 0 120 56 154
rect 0 86 10 120
rect 44 86 56 120
rect 0 54 56 86
tri 86 169 102 185 se
rect 102 169 146 185
tri 146 169 162 185 sw
rect 86 135 162 169
rect 86 101 107 135
rect 141 101 162 135
rect 86 100 162 101
tri 86 84 102 100 ne
rect 102 84 146 100
tri 146 84 162 100 nw
rect 192 154 204 188
rect 238 154 248 188
rect 192 120 248 154
rect 192 86 204 120
rect 238 86 248 120
tri 56 54 86 84 sw
tri 162 54 192 84 se
rect 192 54 248 86
rect 0 50 248 54
rect 0 16 10 50
rect 44 16 204 50
rect 238 16 248 50
rect 0 0 248 16
<< ndiffc >>
rect 10 226 44 260
rect 107 226 141 260
rect 204 226 238 260
rect 10 154 44 188
rect 10 86 44 120
rect 107 101 141 135
rect 204 154 238 188
rect 204 86 238 120
rect 10 16 44 50
rect 204 16 238 50
<< poly >>
rect 162 276 192 302
<< locali >>
rect 10 260 44 276
rect 204 260 238 276
rect 44 226 107 260
rect 141 226 204 260
rect 10 188 44 226
rect 10 120 44 154
rect 204 188 238 226
rect 10 50 44 86
rect 107 135 141 151
rect 107 85 141 101
rect 204 120 238 154
rect 10 0 44 16
rect 204 50 238 86
rect 204 0 238 16
<< end >>
